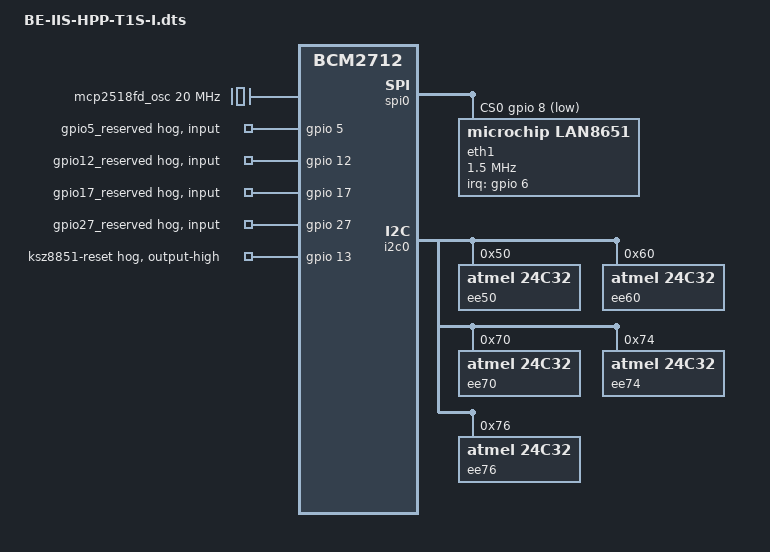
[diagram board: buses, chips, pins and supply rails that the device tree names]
// Raspberry Pi DT overlay: Microchip LAN8651/LAN8650 on SPI0 (CE0)
// IRQ: BCM GPIO6 (falling edge)
// SPI must be enabled in config.txt:
//     dtparam=spi=on
//
// Supported Raspberry Pi models (SPI0-based):
//   - Raspberry Pi Zero / Zero W / Zero 2 W
//   - Raspberry Pi 1 (A/B/B+)
//   - Raspberry Pi 2 (v1.1 / v1.2)
//   - Raspberry Pi 3 (3A+, 3B, 3B+)
//   - Raspberry Pi 4 (4B, 400, CM4)
//   - Raspberry Pi 5
//
// Notes:
//   - Uses SPI0 + CE0
//   - Uses BCM GPIO numbering
//   - Works across bcm2835 / bcm2711 / bcm2712


/dts-v1/;
/plugin/;

#include <dt-bindings/interrupt-controller/irq.h>
#include <dt-bindings/gpio/gpio.h>

/ {
	/*
	 * RPi firmware doesn’t really *use* this for overlays, but keeping it sane helps.
	 * Works across Pi Zero / 2 / 3 / 4 / 5
	 */
	compatible = "brcm,bcm2835", "brcm,bcm2711", "brcm,bcm2712";

	fragment@0 {
		target = <&spi0>;
		__overlay__ {
			/* avoid dtc warnings */
			#address-cells = <1>;
			#size-cells = <0>;
			status = "okay";
			

			/* Extend SPI0 to 3 chip-selects */
			num-cs = <3>;
			cs-gpios =
				<&gpio 8  GPIO_ACTIVE_LOW>,   /* CE0 */
				<&gpio 7  GPIO_ACTIVE_LOW>,   /* CE1 */
				<&gpio 16 GPIO_ACTIVE_LOW>;   /* CS2 */

			/*
			 * LAN865x on SPI0, chip select 0 (CE0)
			 * Interrupt on GPIO6, falling edge
			 */
			eth1: ethernet@0 {
				compatible = "microchip,lan8651", "microchip,lan8650";
				reg = <0>; /* CE0 */

				interrupt-parent = <&gpio>;
				interrupts = <6 IRQ_TYPE_EDGE_FALLING>;

				/* optional: set a fixed MAC (better: let it be set by userspace) */
				/* local-mac-address = [04 05 06 01 02 03]; */

				/* LAN865x TC6 SPI clock; start conservative if unsure */
				spi-max-frequency = <1500000>;

				status = "okay";
			};
		};
	};

	/* disable spidev on CE0 so the kernel can bind the LAN865x driver */
	fragment@1 {
		target = <&spidev0>;
		__overlay__ {
			status = "disabled";
		};
	};
	/* GPIO6 as input, no pull (IRQ pin) */
	fragment@2 {
		target = <&gpio>;
		__overlay__ {
			eth1_int_pins: eth1_int_pins {
				brcm,pins = <6>;
				brcm,function = <0>; /* input */
				brcm,pull = <0>;     /* none */
			};
		};
	};
	
	/* disable spidev on CE1 so the kernel can bind the LAN865x driver */
	fragment@3 {
		target = <&spidev1>;
		__overlay__ {
		status = "disabled";
		};
	};
	
	/* reserve GP5 */
	fragment@5 {
		target = <&gpio>;
		__overlay__ {
			gpio5_reserved: gpio5_reserved {
				gpio-hog;
				gpios = <5 GPIO_ACTIVE_HIGH>;
				input;
			};
		};
	};
	/* reserve GP12 */
	fragment@6 {
		target = <&gpio>;
		__overlay__ {
			gpio12_reserved: gpio12_reserved {
				gpio-hog;
				gpios = <12 GPIO_ACTIVE_HIGH>;
				input;
			};
		};
	};
	/* reserve GP17 */
	fragment@7 {
		target = <&gpio>;
		__overlay__ {
			gpio17_reserved: gpio17_reserved {
				gpio-hog;
				gpios = <17 GPIO_ACTIVE_HIGH>;
				input;
			};
		};
	};
	/* reserve GP27 */
	fragment@8 {
		target = <&gpio>;
		__overlay__ {
			gpio27_reserved: gpio27_reserved {
				gpio-hog;
				gpios = <27 GPIO_ACTIVE_HIGH>;
				input;
			};
		};
	};
	
	
	fragment@9 {
	target = <&i2c0>;
	__overlay__ {
		#address-cells = <1>;
		#size-cells = <0>;

		ee50: eeprom@50 {
			compatible = "atmel,24c32";
			reg = <0x50>;
			status = "okay";
		};
		
		ee60: eeprom@60 {
			compatible = "atmel,24c32";
			reg = <0x60>;
			status = "okay";
		};

		ee70: eeprom@70 {
			compatible = "atmel,24c32";
			reg = <0x70>;
			status = "okay";
		};
		
		ee74: eeprom@74 {
			compatible = "atmel,24c32";
			reg = <0x74>;
			status = "okay";
		};
		
		ee76: eeprom@76 {
			compatible = "atmel,24c32";
			reg = <0x76>;
			status = "okay";
		};
	};
};

fragment@10 {
	target = <&gpio>;
	__overlay__ {
		ksz8851_reset_high: ksz8851_reset_high {
			gpio-hog;
			gpios = <13 GPIO_ACTIVE_HIGH>;
			output-high;
			line-name = "ksz8851-reset";
		};
	};
};
fragment@22 {
	target-path = "/";
	__overlay__ {
		mcp2518fd_osc: mcp2518fd_osc {
			compatible = "fixed-clock";
			#clock-cells = <0>;
			clock-frequency = <20000000>;
		};
	};
};

fragment@30 {
	target-path = "/";
	__overlay__ {
		sc16is752_clk: sc16is752_clk {
			compatible = "fixed-clock";
			#clock-cells = <0>;
			clock-frequency = <3027000>;
		};
	};
};




	__overrides__ {

		/* dtoverlay=lan8651,speed=15000000 */
		speed    = <&eth1>, "spi-max-frequency:0";
	};
};

